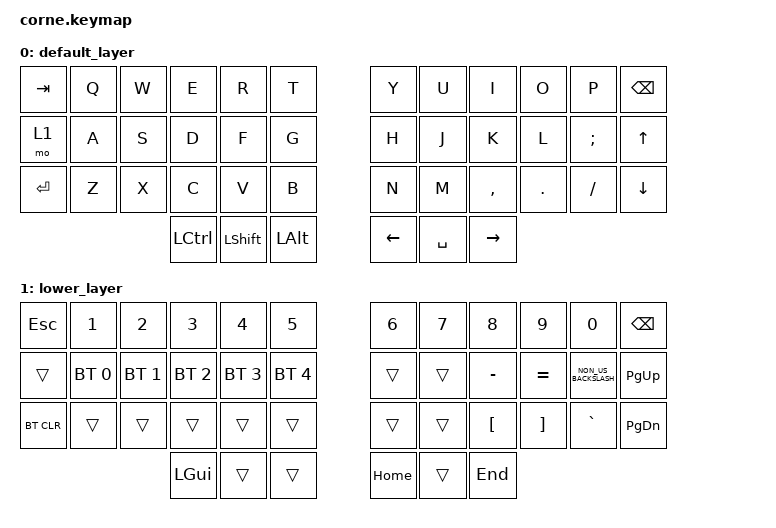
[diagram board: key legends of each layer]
/*
 * Copyright (c) 2020 The ZMK Contributors
 *
 * SPDX-License-Identifier: MIT
 */

#include <behaviors.dtsi>
#include <dt-bindings/zmk/bt.h>
#include <dt-bindings/zmk/keys.h>

/ {
    keymap {
        compatible = "zmk,keymap";

        default_layer {
            // -----------------------------------------------------------------------------------------
            // |  TAB |  Q  |  W  |  E  |  R  |  T  |   |  Y  |  U   |  I  |  O  |  P  | BSPC |
            // | CTRL |  A  |  S  |  D  |  F  |  G  |   |  H  |  J   |  K  |  L  |  ;  |  '   |
            // | SHFT |  Z  |  X  |  C  |  V  |  B  |   |  N  |  M   |  ,  |  .  |  /  | ESC  |
            //                    | GUI | LWR | SPC |   | ENT | RSE  | ALT |

            bindings = <
&kp TAB    &kp Q  &kp W  &kp E             &kp R           &kp T           &kp Y     &kp U      &kp I      &kp O    &kp P     &kp BSPC
&mo 1      &kp A  &kp S  &kp D             &kp F           &kp G           &kp H     &kp J      &kp K      &kp L    &kp SEMI  &kp UP_ARROW
&kp ENTER  &kp Z  &kp X  &kp C             &kp V           &kp B           &kp N     &kp M      &kp COMMA  &kp DOT  &kp FSLH  &kp DOWN
                         &kp LEFT_CONTROL  &kp LEFT_SHIFT  &kp LEFT_ALT    &kp LEFT  &kp SPACE  &kp RIGHT
            >;
        };

        lower_layer {
            // -----------------------------------------------------------------------------------------
            // |  TAB |  1  |  2  |  3  |  4  |  5  |   |  6  |  7  |  8  |  9  |  0  | BSPC |
            // | BTCLR| BT1 | BT2 | BT3 | BT4 | BT5 |   | LFT | DWN |  UP | RGT |     |      |
            // | SHFT |     |     |     |     |     |   |     |     |     |     |     |      |
            //                    | GUI |     | SPC |   | ENT |     | ALT |

            bindings = <
&kp ESCAPE  &kp N1        &kp N2        &kp N3        &kp N4        &kp N5          &kp N6    &kp N7  &kp N8            &kp N9             &kp N0                &kp BSPC
&trans      &bt BT_SEL 0  &bt BT_SEL 1  &bt BT_SEL 2  &bt BT_SEL 3  &bt BT_SEL 4    &trans    &trans  &kp MINUS         &kp EQUAL          &kp NON_US_BACKSLASH  &kp PAGE_UP
&bt BT_CLR  &trans        &trans        &trans        &trans        &trans          &trans    &trans  &kp LEFT_BRACKET  &kp RIGHT_BRACKET  &kp GRAVE             &kp PAGE_DOWN
                                        &kp LGUI      &trans        &trans          &kp HOME  &trans  &kp END
            >;
        };
    };
};
